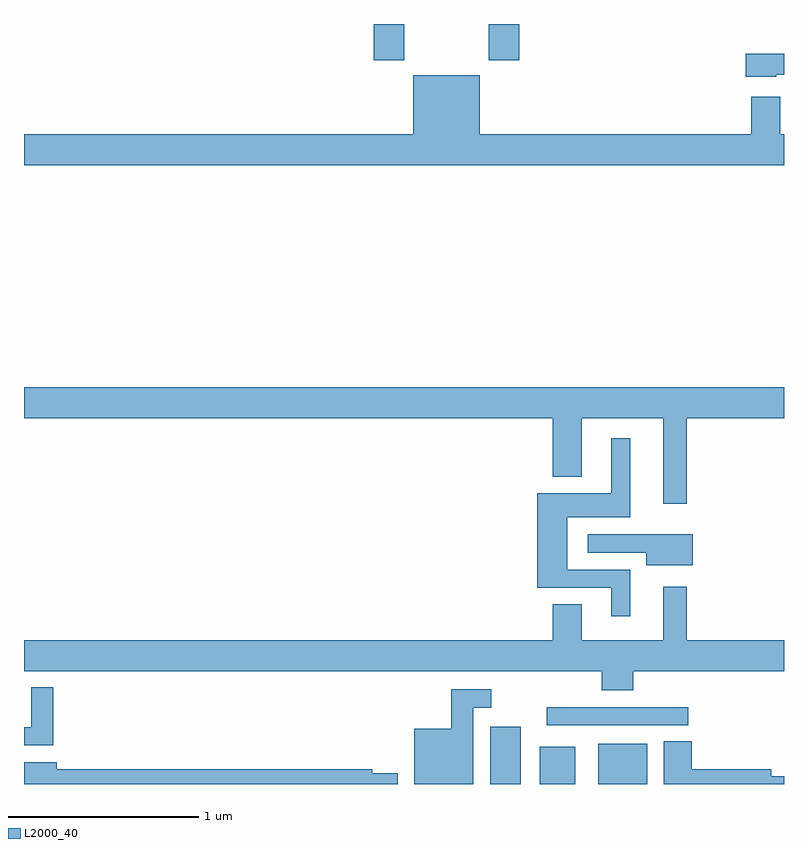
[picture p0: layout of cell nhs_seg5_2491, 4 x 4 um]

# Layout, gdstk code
import gdstk
lib = gdstk.Library(unit=1e-6, precision=1e-09)
def R(c, l, rs):  # rectangles x0, y0, x1, y1
    for r in rs: c.add(gdstk.rectangle(r[:2], r[2:], *l))
def P(c, l, *ps):  # polygons
    for p in ps: c.add(gdstk.Polygon(p, *l))
L2000_40 = (2000, 40)

nhs_seg5_2491 = lib.new_cell('nhs_seg5_2491')
R(nhs_seg5_2491, L2000_40, [(257.453,890.799,257.614,891.1), (257.714,890.799,257.902,890.995), (258.023,890.799,258.28,891.01), (257.751,891.108,258.496,891.204), (256.841,894.609,257.001,894.799), (257.446,894.609,257.606,894.799)])
P(nhs_seg5_2491, L2000_40, [(258.96,894.533),(259,894.533),(259,894.643),(258.798,894.643),(258.798,894.521),(258.96,894.521)],
  [(259,894.22),(258.979,894.22),(258.979,894.415),(258.827,894.415),(258.827,894.22),(257.398,894.22),(257.398,894.529),(257.048,894.529),(257.048,894.22),(255,894.22),(255,894.056),(259,894.056)],
  [(258.487,892.724),(259,892.724),(259,892.888),(255,892.888),(255,892.724),(257.783,892.724),(257.783,892.415),(257.935,892.415),(257.935,892.724),(258.365,892.724),(258.365,892.275),(258.487,892.275)],
  [(258.19,891.927),(257.86,891.927),(257.86,892.202),(258.19,892.202),(258.19,892.618),(258.092,892.618),(258.092,892.33),(257.702,892.33),(257.702,891.831),(258.092,891.831),(258.092,891.681),(258.19,891.681)],
  [(258.52,892.114),(258.279,892.114),(258.279,892.113),(257.967,892.113),(257.967,892.017),(258.275,892.017),(258.275,891.95),(258.52,891.95)],
  [(258.206,891.392),(259,891.392),(259,891.556),(258.487,891.556),(258.487,891.838),(258.365,891.838),(258.365,891.556),(257.935,891.556),(257.935,891.746),(257.783,891.746),(257.783,891.556),(255,891.556),(255,891.392),(258.041,891.392),(258.041,891.293),(258.206,891.293)],
  [(255.155,891.307),(255.038,891.307),(255.038,891.099),(255,891.099),(255,891.003),(255.155,891.003)],
  [(257.364,890.851),(257.365,890.851),(257.365,891.201),(257.458,891.201),(257.458,891.297),(257.248,891.297),(257.248,891.091),(257.054,891.091),(257.054,890.799),(257.364,890.799)],
  [(259,890.84),(258.934,890.84),(258.934,890.876),(258.515,890.876),(258.515,891.023),(258.368,891.023),(258.368,890.799),(259,890.799)],
  [(256.966,890.856),(256.832,890.856),(256.832,890.876),(255.172,890.876),(255.172,890.914),(255,890.914),(255,890.799),(256.966,890.799)])

lib.write_gds('nhs_seg5_2491.gds')
